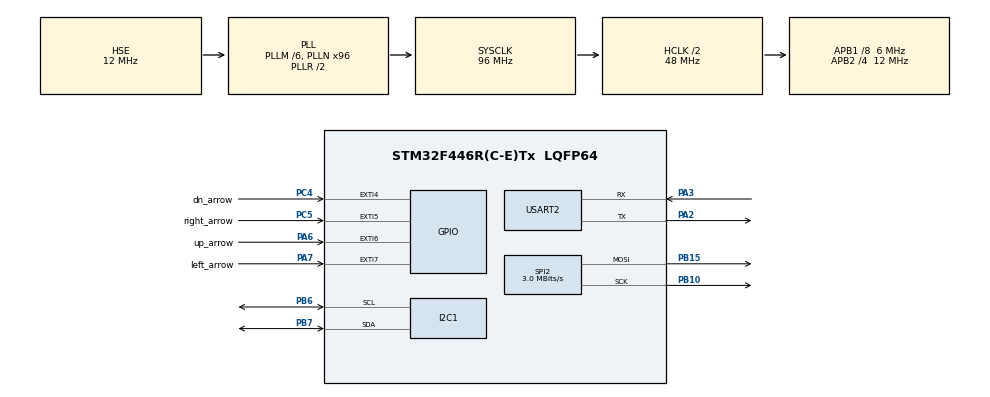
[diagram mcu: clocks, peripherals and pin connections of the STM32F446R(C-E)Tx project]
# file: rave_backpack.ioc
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Dma.Request0=SPI2_TX
Dma.SPI2_TX.0.Direction=DMA_MEMORY_TO_PERIPH
Dma.SPI2_TX.0.FIFOMode=DMA_FIFOMODE_DISABLE
Dma.SPI2_TX.0.Instance=DMA1_Stream4
Dma.SPI2_TX.0.MemDataAlignment=DMA_MDATAALIGN_BYTE
Dma.SPI2_TX.0.MemInc=DMA_MINC_ENABLE
Dma.SPI2_TX.0.Mode=DMA_NORMAL
Dma.SPI2_TX.0.PeriphDataAlignment=DMA_PDATAALIGN_BYTE
Dma.SPI2_TX.0.PeriphInc=DMA_PINC_DISABLE
Dma.SPI2_TX.0.Priority=DMA_PRIORITY_LOW
I2C1.I2C_Mode=I2C_Fast
Mcu.Family=STM32F4
Mcu.Name=STM32F446R(C-E)Tx
Mcu.Package=LQFP64
NVIC.DMA1_Stream4_IRQn=true\:0\:0\:false\:false\:true\:false\:true\:true
NVIC.EXTI4_IRQn=true\:0\:0\:false\:false\:true\:true\:true\:true
NVIC.EXTI9_5_IRQn=true\:0\:0\:false\:false\:true\:true\:true\:true
NVIC.PriorityGroup=NVIC_PRIORITYGROUP_4
NVIC.TIM3_IRQn=true\:0\:0\:false\:false\:true\:true\:true\:true
PA13.Mode=Serial_Wire
PA13.Signal=SYS_JTMS-SWDIO
PA14.Mode=Serial_Wire
PA14.Signal=SYS_JTCK-SWCLK
PA2.Mode=Asynchronous
PA2.Signal=USART2_TX
PA3.Mode=Asynchronous
PA3.Signal=USART2_RX
PA6.GPIO_Label=up_arrow
PA6.Signal=GPXTI6
PA7.GPIO_Label=left_arrow
PA7.Signal=GPXTI7
PB10.Mode=TX_Only_Simplex_Unidirect_Master
PB10.Signal=SPI2_SCK
PB15.Mode=TX_Only_Simplex_Unidirect_Master
PB15.Signal=SPI2_MOSI
PB6.Mode=I2C
PB6.Signal=I2C1_SCL
PB7.Mode=I2C
PB7.Signal=I2C1_SDA
PC4.GPIO_Label=dn_arrow
PC4.Signal=GPXTI4
PC5.GPIO_Label=right_arrow
PC5.Signal=GPXTI5
PH0-OSC_IN.Mode=HSE-External-Oscillator
PH0-OSC_IN.Signal=RCC_OSC_IN
PH1-OSC_OUT.Mode=HSE-External-Oscillator
PH1-OSC_OUT.Signal=RCC_OSC_OUT
ProjectManager.HeapSize=0x200
ProjectManager.StackSize=0x400
ProjectManager.TargetToolchain=Makefile
RCC.AHBCLKDivider=RCC_SYSCLK_DIV2
RCC.AHBFreq_Value=48000000
RCC.APB1CLKDivider=RCC_HCLK_DIV8
RCC.APB1Freq_Value=6000000
RCC.APB1TimFreq_Value=12000000
RCC.APB2CLKDivider=RCC_HCLK_DIV4
RCC.APB2Freq_Value=12000000
RCC.APB2TimFreq_Value=24000000
RCC.CortexFreq_Value=48000000
RCC.HCLKFreq_Value=48000000
RCC.HSE_VALUE=12000000
RCC.PLLM=6
RCC.PLLN=96
RCC.PLLSourceVirtual=RCC_PLLSOURCE_HSE
RCC.SYSCLKFreq_VALUE=96000000
RCC.SYSCLKSource=RCC_SYSCLKSOURCE_PLLRCLK
RCC.USBFreq_Value=96000000
RCC.VCOOutputFreq_Value=192000000
SPI2.BaudRatePrescaler=SPI_BAUDRATEPRESCALER_2
SPI2.CalculateBaudRate=3.0 MBits/s
SPI2.Direction=SPI_DIRECTION_2LINES
SPI2.Mode=SPI_MODE_MASTER
SPI2.VirtualType=VM_MASTER
TIM3.Period=300
TIM3.Prescaler=1000
USART2.VirtualMode=VM_ASYNC
VP_TIM3_VS_ClockSourceINT.Mode=Internal
board=custom

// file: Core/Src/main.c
/* USER CODE BEGIN Header */
/**
  ******************************************************************************
  * @file           : main.c
  * @brief          : Main program body
  ******************************************************************************
  * @attention
  *
  * Copyright (c) 2023 STMicroelectronics.
  * All rights reserved.
  *
  * This software is licensed under terms that can be found in the LICENSE file
  * in the root directory of this software component.
  * If no LICENSE file comes with this software, it is provided AS-IS.
  *
  ******************************************************************************
  */
/* USER CODE END Header */
#include "main.h"

/* USER CODE BEGIN Includes */
#include <stdio.h>
#include <string.h>
#include <stdbool.h>
#include "led_patterns.h"
#include "led_driver.h"
#include "ssd1306.h"
/* USER CODE END Includes */

/* USER CODE BEGIN PD */
#define DEBOUNCE_DELAY 50
/* USER CODE END PD */

I2C_HandleTypeDef hi2c1;

SPI_HandleTypeDef hspi2;
DMA_HandleTypeDef hdma_spi2_tx;

TIM_HandleTypeDef htim3;

UART_HandleTypeDef huart2;

/* USER CODE BEGIN PV */
typedef enum {
	LED_OFF=0, PATTERN=1, COLOR=3, SPEED=5, BRIGHTNESS=7
}ctrl_state;

typedef enum {
	NONE=0, UP=1, DN=2, LEFT=3, RIGHT=4
}dir_ctrl;

ctrl_state cur_mode_state = LED_OFF;
ctrl_state new_mode_state = LED_OFF;

pattern_state cur_col_state = IDLE;
pattern_state new_col_state = IDLE;

char * up_msg = "up pressed\r\n";
char * dn_msg = "dn pressed\r\n";
char * left_msg = "left pressed\r\n";
char * right_msg = "right pressed\r\n";

volatile dir_ctrl cur_dir = NONE;
volatile bool led_enable = 1;

uint32_t cur_color = 0x00FF00U; // init to red
uint8_t cur_brightness = 100;
uint8_t cur_speed = 50;
/* USER CODE END PV */

void SystemClock_Config(void);
static void MX_GPIO_Init(void);
static void MX_DMA_Init(void);
static void MX_SPI2_Init(void);
static void MX_I2C1_Init(void);
static void MX_TIM3_Init(void);
static void MX_USART2_UART_Init(void);

/* USER CODE BEGIN 0 */
void HAL_Delay(uint32_t Delay)
{
  uint32_t tickstart = HAL_GetTick();
  uint32_t wait = Delay;

  /* Add a freq to guarantee minimum wait */
  if (wait < HAL_MAX_DELAY)
  {
    wait += (uint32_t)(uwTickFreq);
  }

  while((HAL_GetTick() - tickstart) < wait)
  {
	  if (!led_enable){
		  break;
	  }
  }
}

/* USER CODE END 0 */

int main(void)
{

  /* MCU Configuration--------------------------------------------------------*/

  /* Reset of all peripherals, Initializes the Flash interface and the Systick. */
  HAL_Init();

  /* Configure the system clock */
  SystemClock_Config();

  /* Initialize all configured peripherals */
  MX_GPIO_Init();
  MX_DMA_Init();
  MX_SPI2_Init();
  MX_I2C1_Init();
  MX_TIM3_Init();
  MX_USART2_UART_Init();
  /* USER CODE BEGIN 2 */
  dma_buffer_init();
  ssd1306_init();
  HAL_Delay(50);

  /* USER CODE END 2 */

  /* Infinite loop */
  /* USER CODE BEGIN WHILE */
  while (1)
  {
	  switch (cur_mode_state){
	  	  case LED_OFF:{
	  		  if (1==1){
	  			  display_init();
	  			  insert_selector(PATTERN);
	  			  ssd1306_update_display();
	  			  new_mode_state = PATTERN;
	  		  }
	  		  else{
	  			  new_mode_state = LED_OFF;
	  		  }
	  		  break;
	  	  }
	  	  case PATTERN:{

	  			if (cur_dir == DN){
	  				new_mode_state = COLOR;
	  				move_selector(PATTERN, COLOR);
	  				cur_dir = NONE;
	  			} else if (cur_dir == UP){
	  			  	new_mode_state = BRIGHTNESS;
	  			  	move_selector(PATTERN, BRIGHTNESS);
	  			  	cur_dir = NONE;
	  			} else {
	  			  	new_mode_state = PATTERN;
	  			}
	  		  switch(cur_col_state){
	  		  	  case IDLE:{
	  		  		  new_col_state = STATIC;
	  		  		  break;
	  		  	  }
	  		  	  case STATIC:{

	  		  	  	  if (cur_dir == RIGHT){
	  		  	  		  new_col_state = BREATHE;
	  		  	  		  clear_page(1);
	  		  	  	  	  write_page(1, "  Breathe   ");
	  		  	  	  	  insert_selector(PATTERN);
	  		  	  	  	  ssd1306_update_display();
	  		  	  	  	  cur_dir = NONE;
	  		  	  	  } else if (cur_dir == LEFT){
	  		  	  		  new_col_state = METEOR;
	  		  	  		  clear_page(1);
	  		  	  	  	  write_page(1, "   Meteor   ");
	  		  	  	  	  insert_selector(PATTERN);
	  		  	  	  	  ssd1306_update_display();
	  		  	  	  	  cur_dir = NONE;
	  		  	  	  } else {
	  		  	  		  new_col_state = STATIC;
	  		  	  	  }
	  		  		  break;
	  		  	  }
	  		  	  case (BREATHE):{

	  				  if (cur_dir == RIGHT){
	  		  	  	  	  new_col_state = RAINBOW;
	  		  	  	  	  clear_page(1);
	  		  	  	  	  write_page(1, "  Rainbow   ");
	  		  	  	  	  insert_selector(PATTERN);
	  		  	  	  	  ssd1306_update_display();
	  		  	  	  	  cur_dir = NONE;
	  		  	  	  } else if (cur_dir == LEFT){
	  		  	  	  	  new_col_state = STATIC;
	  		  	  	  	  clear_page(1);
	  		  	  	  	  write_page(1, "   Static   ");
	  		  	  	  	  insert_selector(PATTERN);
	  		  	  	  	  ssd1306_update_display();
	  		  	  	  	  cur_dir = NONE;
	  		  	  	  } else {
	  		  	  	  	  new_col_state = BREATHE;
	  		  	  	  }
	  			 	 break;
	  		  	  }
	  		  	  case (RAINBOW):{

	  		  	  	  if (cur_dir == RIGHT){
	  		  	  	  	  new_col_state = METEOR;
	  		  	  	  	  clear_page(1);
	  		  	  	  	  write_page(1, "   Meteor   ");
	  		  	  	  	  insert_selector(PATTERN);
	  		  	  	  	  ssd1306_update_display();
	  		  	  	  	  cur_dir = NONE;
	  		  	  	  } else if (cur_dir == LEFT){
	  		  	  		  new_col_state = BREATHE;
	  		  	  		  clear_page(1);
	  		  	  		  write_page(1, "  Breathe   ");
	  		  	  		  insert_selector(PATTERN);
	  		  	  		  ssd1306_update_display();
	  		  	  		  cur_dir = NONE;
	  		  	  	  } else {
	  		  	  	  	  new_col_state = RAINBOW;
	  		  	  	  }
	  		  		  break;
	  		  	  }
	  		  	  case (METEOR):{

	  		  	  	  if (cur_dir == RIGHT){
	  		  	  	  	  new_col_state = STATIC;
	  		  	  	  	  clear_page(1);
	  		  	  	  	  write_page(1, "   Static   ");
	  		  	  	  	  insert_selector(PATTERN);
	  		  	  	  	  ssd1306_update_display();
	  		  	  	  	  cur_dir = NONE;
	  		  	  	  } else if (cur_dir == LEFT){
	  		  	  	  	  new_col_state = RAINBOW;
	  		  	  	  	  clear_page(1);
	  		  	  	  	  write_page(1, "  Rainbow   ");
	  		  	  	  	  insert_selector(PATTERN);
	  		  	  	  	  ssd1306_update_display();
	  		  	  	  	  cur_dir = NONE;
	  		  	  	  } else {
	  		  	  	  	  new_col_state = METEOR;
	  		  	  	  }
	  		  		  break;
	  		  	  }
	  	  	  }// end switch

	  		  cur_col_state = new_col_state;
	  	  	  break;
	  	  }
	  	  case COLOR:{
	  		  if (cur_dir == DN){
		  		new_mode_state = SPEED;
		  		move_selector(COLOR, SPEED);
		  		cur_dir = NONE;
	  		  }
	  		  else if (cur_dir == UP){
		  		new_mode_state = PATTERN;
		  		move_selector(COLOR, PATTERN);
		  		cur_dir = NONE;
	  		  } else {
		  		  	new_mode_state = COLOR;
	  		  }

	  		  if (cur_dir == RIGHT){
	  			  if (col_arr_idx == 8/*(sizeof(col_arr)-1)*/){
	  				  col_arr_idx = 0;
	  			  } else {
	  				  col_arr_idx++;
	  			  }
	  			cur_color = col_arr[col_arr_idx];
	  			clear_page(3);
	  			write_page(3, col_name[col_arr_idx]);
	  			insert_selector(COLOR);
	  			ssd1306_update_display();
	  			cur_dir = NONE;

	  		  } else if (cur_dir == LEFT){
	  			  if (col_arr_idx == 0){
	  				  col_arr_idx = 8/*(sizeof(col_arr)-1)*/;
	  			  } else {
	  				  col_arr_idx--;
	  			  }
	  			cur_color = col_arr[col_arr_idx];
	  			clear_page(3);
	  			write_page(3, col_name[col_arr_idx]);
	  			insert_selector(COLOR);
	  			ssd1306_update_display();
	  			cur_dir = NONE;
	  		  }
	  		  break;
	  	  }
	  	  case SPEED:{

		  			if (cur_dir == DN){
		  				new_mode_state = BRIGHTNESS;
		  				move_selector(SPEED, BRIGHTNESS);
		  				cur_dir = NONE;
		  			} else if (cur_dir == UP){
		  			  	new_mode_state = COLOR;
		  			  	move_selector(SPEED, COLOR);
		  			  	cur_dir = NONE;
		  			} else {
		  			  	new_mode_state = SPEED;
		  			}

		  			if (cur_dir == RIGHT){
		  				cur_speed = (cur_speed == 100) ? 100 : (cur_speed + 10);
		  				cur_dir = NONE;
		  				clear_page(SPEED);
		  				draw_box((11*(cur_speed/10)),5,9,(5*8)+1);
		  				insert_selector(SPEED);
		  				ssd1306_update_display();
		  			} else if (cur_dir == LEFT){
		  				cur_speed = (cur_speed == 10) ? 10 : (cur_speed - 10);
		  				cur_dir = NONE;
		  				clear_page(SPEED);
		  				draw_box((11*(cur_speed/10)),5,9,(5*8)+1);
		  				insert_selector(SPEED);
		  				ssd1306_update_display();
		  			}

	  		break;
	  	  }
	  	  case BRIGHTNESS:{

		  			if (cur_dir == DN){
		  				new_mode_state = PATTERN;
		  				move_selector(BRIGHTNESS, PATTERN);
		  				cur_dir = NONE;
		  			} else if (cur_dir == UP){
		  			  	new_mode_state = SPEED;
		  			  	move_selector(BRIGHTNESS, SPEED);
		  			  	cur_dir = NONE;
		  			} else {
		  			  	new_mode_state = BRIGHTNESS;
		  			}

		  			if (cur_dir == RIGHT){
		  				cur_brightness = (cur_brightness == 100) ? 100 : (cur_brightness + 10);
		  				cur_dir = NONE;
		  				clear_page(BRIGHTNESS);
		  				draw_box((11*(cur_brightness/10)),5,9,(7*8)+1);
		  				insert_selector(BRIGHTNESS);
		  				ssd1306_update_display();
		  			} else if (cur_dir == LEFT){
		  				cur_brightness = (cur_brightness == 10) ? 10 : (cur_brightness - 10);
		  				cur_dir = NONE;
		  				clear_page(BRIGHTNESS);
		  				draw_box((11*(cur_brightness/10)),5,9,(7*8)+1);
		  				insert_selector(BRIGHTNESS);
		  				ssd1306_update_display();
		  			}

	  		break;
	  	  }
	  }
	  cur_mode_state = new_mode_state;
	  if (led_enable){
	  display_pattern(cur_col_state, cur_color, cur_brightness, cur_speed);
	  }
    /* USER CODE END WHILE */

  }
}

void SystemClock_Config(void)
{
  RCC_OscInitTypeDef RCC_OscInitStruct = {0};
  RCC_ClkInitTypeDef RCC_ClkInitStruct = {0};

  /** Configure the main internal regulator output voltage
  */
  __HAL_RCC_PWR_CLK_ENABLE();
  __HAL_PWR_VOLTAGESCALING_CONFIG(PWR_REGULATOR_VOLTAGE_SCALE3);

  /** Initializes the RCC Oscillators according to the specified parameters
  * in the RCC_OscInitTypeDef structure.
  */
  RCC_OscInitStruct.OscillatorType = RCC_OSCILLATORTYPE_HSE;
  RCC_OscInitStruct.HSEState = RCC_HSE_ON;
  RCC_OscInitStruct.PLL.PLLState = RCC_PLL_ON;
  RCC_OscInitStruct.PLL.PLLSource = RCC_PLLSOURCE_HSE;
  RCC_OscInitStruct.PLL.PLLM = 6;
  RCC_OscInitStruct.PLL.PLLN = 96;
  RCC_OscInitStruct.PLL.PLLP = RCC_PLLP_DIV2;
  RCC_OscInitStruct.PLL.PLLQ = 2;
  RCC_OscInitStruct.PLL.PLLR = 2;
  if (HAL_RCC_OscConfig(&RCC_OscInitStruct) != HAL_OK)
  {
    Error_Handler();
  }

  /** Initializes the CPU, AHB and APB buses clocks
  */
  RCC_ClkInitStruct.ClockType = RCC_CLOCKTYPE_HCLK|RCC_CLOCKTYPE_SYSCLK
                              |RCC_CLOCKTYPE_PCLK1|RCC_CLOCKTYPE_PCLK2;
  RCC_ClkInitStruct.SYSCLKSource = RCC_SYSCLKSOURCE_PLLRCLK;
  RCC_ClkInitStruct.AHBCLKDivider = RCC_SYSCLK_DIV2;
  RCC_ClkInitStruct.APB1CLKDivider = RCC_HCLK_DIV8;
  RCC_ClkInitStruct.APB2CLKDivider = RCC_HCLK_DIV4;

  if (HAL_RCC_ClockConfig(&RCC_ClkInitStruct, FLASH_LATENCY_1) != HAL_OK)
  {
    Error_Handler();
  }
}

static void MX_I2C1_Init(void)
{

  hi2c1.Instance = I2C1;
  hi2c1.Init.ClockSpeed = 400000;
  hi2c1.Init.DutyCycle = I2C_DUTYCYCLE_2;
  hi2c1.Init.OwnAddress1 = 0;
  hi2c1.Init.AddressingMode = I2C_ADDRESSINGMODE_7BIT;
  hi2c1.Init.DualAddressMode = I2C_DUALADDRESS_DISABLE;
  hi2c1.Init.OwnAddress2 = 0;
  hi2c1.Init.GeneralCallMode = I2C_GENERALCALL_DISABLE;
  hi2c1.Init.NoStretchMode = I2C_NOSTRETCH_DISABLE;
  if (HAL_I2C_Init(&hi2c1) != HAL_OK)
  {
    Error_Handler();
  }

}

static void MX_SPI2_Init(void)
{

  /* SPI2 parameter configuration*/
  hspi2.Instance = SPI2;
  hspi2.Init.Mode = SPI_MODE_MASTER;
  hspi2.Init.Direction = SPI_DIRECTION_2LINES;
  hspi2.Init.DataSize = SPI_DATASIZE_8BIT;
  hspi2.Init.CLKPolarity = SPI_POLARITY_LOW;
  hspi2.Init.CLKPhase = SPI_PHASE_1EDGE;
  hspi2.Init.NSS = SPI_NSS_SOFT;
  hspi2.Init.BaudRatePrescaler = SPI_BAUDRATEPRESCALER_2;
  hspi2.Init.FirstBit = SPI_FIRSTBIT_MSB;
  hspi2.Init.TIMode = SPI_TIMODE_DISABLE;
  hspi2.Init.CRCCalculation = SPI_CRCCALCULATION_DISABLE;
  hspi2.Init.CRCPolynomial = 10;
  if (HAL_SPI_Init(&hspi2) != HAL_OK)
  {
    Error_Handler();
  }

}

static void MX_TIM3_Init(void)
{

  TIM_ClockConfigTypeDef sClockSourceConfig = {0};
  TIM_MasterConfigTypeDef sMasterConfig = {0};

  htim3.Instance = TIM3;
  htim3.Init.Prescaler = 1000;
  htim3.Init.CounterMode = TIM_COUNTERMODE_UP;
  htim3.Init.Period = 300;
  htim3.Init.ClockDivision = TIM_CLOCKDIVISION_DIV1;
  htim3.Init.AutoReloadPreload = TIM_AUTORELOAD_PRELOAD_ENABLE;
  if (HAL_TIM_Base_Init(&htim3) != HAL_OK)
  {
    Error_Handler();
  }
  sClockSourceConfig.ClockSource = TIM_CLOCKSOURCE_INTERNAL;
  if (HAL_TIM_ConfigClockSource(&htim3, &sClockSourceConfig) != HAL_OK)
  {
    Error_Handler();
  }
  sMasterConfig.MasterOutputTrigger = TIM_TRGO_RESET;
  sMasterConfig.MasterSlaveMode = TIM_MASTERSLAVEMODE_DISABLE;
  if (HAL_TIMEx_MasterConfigSynchronization(&htim3, &sMasterConfig) != HAL_OK)
  {
    Error_Handler();
  }

}

static void MX_USART2_UART_Init(void)
{

  huart2.Instance = USART2;
  huart2.Init.BaudRate = 115200;
  huart2.Init.WordLength = UART_WORDLENGTH_8B;
  huart2.Init.StopBits = UART_STOPBITS_1;
  huart2.Init.Parity = UART_PARITY_NONE;
  huart2.Init.Mode = UART_MODE_TX_RX;
  huart2.Init.HwFlowCtl = UART_HWCONTROL_NONE;
  huart2.Init.OverSampling = UART_OVERSAMPLING_16;
  if (HAL_UART_Init(&huart2) != HAL_OK)
  {
    Error_Handler();
  }

}

static void MX_DMA_Init(void)
{

  /* DMA controller clock enable */
  __HAL_RCC_DMA1_CLK_ENABLE();

  /* DMA interrupt init */
  /* DMA1_Stream4_IRQn interrupt configuration */
  HAL_NVIC_SetPriority(DMA1_Stream4_IRQn, 0, 0);
  HAL_NVIC_EnableIRQ(DMA1_Stream4_IRQn);

}

static void MX_GPIO_Init(void)
{
  GPIO_InitTypeDef GPIO_InitStruct = {0};

  /* GPIO Ports Clock Enable */
  __HAL_RCC_GPIOH_CLK_ENABLE();
  __HAL_RCC_GPIOA_CLK_ENABLE();
  __HAL_RCC_GPIOC_CLK_ENABLE();
  __HAL_RCC_GPIOB_CLK_ENABLE();

  /*Configure GPIO pins : up_arrow_Pin left_arrow_Pin */
  GPIO_InitStruct.Pin = up_arrow_Pin|left_arrow_Pin;
  GPIO_InitStruct.Mode = GPIO_MODE_IT_RISING;
  GPIO_InitStruct.Pull = GPIO_NOPULL;
  HAL_GPIO_Init(GPIOA, &GPIO_InitStruct);

  /*Configure GPIO pins : dn_arrow_Pin right_arrow_Pin */
  GPIO_InitStruct.Pin = dn_arrow_Pin|right_arrow_Pin;
  GPIO_InitStruct.Mode = GPIO_MODE_IT_RISING;
  GPIO_InitStruct.Pull = GPIO_NOPULL;
  HAL_GPIO_Init(GPIOC, &GPIO_InitStruct);

  /* EXTI interrupt init*/
  HAL_NVIC_SetPriority(EXTI4_IRQn, 0, 0);
  HAL_NVIC_EnableIRQ(EXTI4_IRQn);

  HAL_NVIC_SetPriority(EXTI9_5_IRQn, 0, 0);
  HAL_NVIC_EnableIRQ(EXTI9_5_IRQn);

}

/* USER CODE BEGIN 4 */
void HAL_TIM_PeriodElapsedCallback(TIM_HandleTypeDef *htim){
	HAL_TIM_Base_Stop_IT(&htim3);
	if (HAL_GPIO_ReadPin (up_arrow_GPIO_Port, up_arrow_Pin)){
		cur_dir = UP;
	}
	else if (HAL_GPIO_ReadPin (dn_arrow_GPIO_Port, dn_arrow_Pin)){
		cur_dir = DN;
	}
	else if (HAL_GPIO_ReadPin (left_arrow_GPIO_Port, left_arrow_Pin)){
		cur_dir = LEFT;
	}
	else if (HAL_GPIO_ReadPin (right_arrow_GPIO_Port, right_arrow_Pin)){
		cur_dir = RIGHT;
	}
	else{
		cur_dir = NONE;
	}
	led_enable = 1;
}

void HAL_GPIO_EXTI_Callback(uint16_t GPIO_Pin){
	led_enable = 0;
	HAL_TIM_Base_Start_IT(&htim3);
}
/* USER CODE END 4 */

void Error_Handler(void)
{
  __disable_irq();
  while (1)
  {
  }
}
